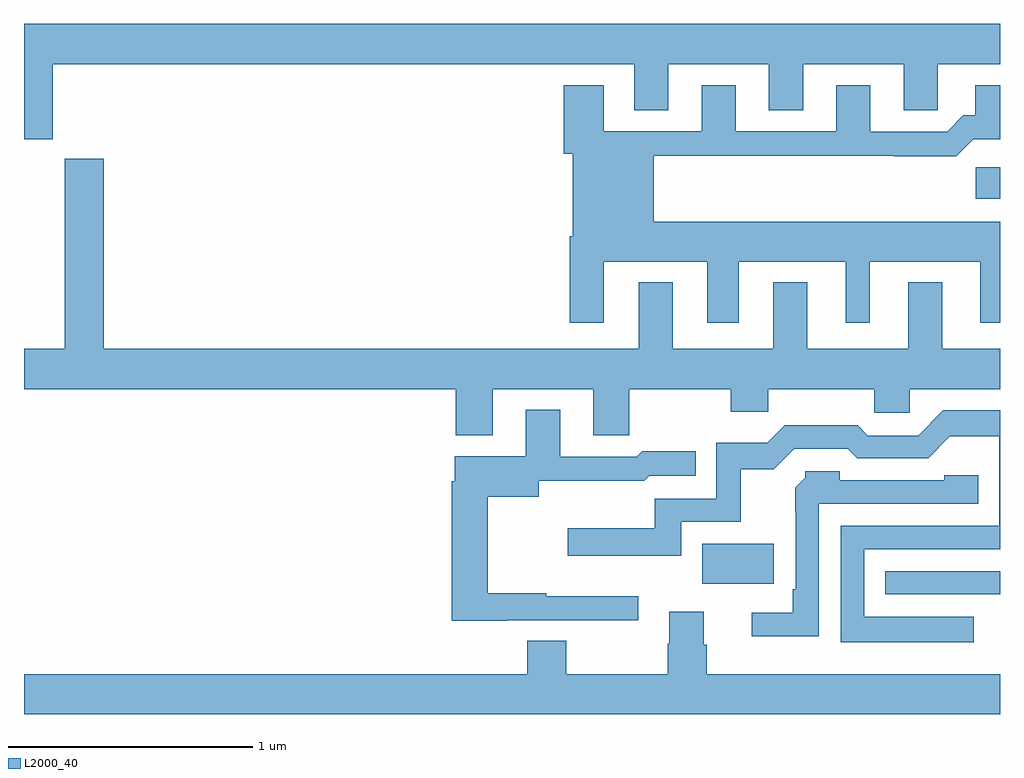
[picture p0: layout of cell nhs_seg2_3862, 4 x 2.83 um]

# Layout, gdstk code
import gdstk
lib = gdstk.Library(unit=1e-6, precision=1e-09)
def R(c, l, rs):  # rectangles x0, y0, x1, y1
    for r in rs: c.add(gdstk.rectangle(r[:2], r[2:], *l))
def P(c, l, *ps):  # polygons
    for p in ps: c.add(gdstk.Polygon(p, *l))
L2000_40 = (2000, 40)

nhs_seg2_3862 = lib.new_cell('nhs_seg2_3862')
R(nhs_seg2_3862, L2000_40, [(318.529,630.81,319,630.906), (317.779,630.854,318.072,631.018), (318.9,632.432,319,632.561)])
P(nhs_seg2_3862, L2000_40, [(315.118,632.984),(317.501,632.984),(317.501,632.794),(317.641,632.794),(317.641,632.984),(318.053,632.984),(318.053,632.794),(318.193,632.794),(318.193,632.984),(318.605,632.984),(318.605,632.794),(318.744,632.794),(318.744,632.984),(319,632.984),(319,633.148),(315,633.148),(315,632.675),(315.118,632.675)],
  [(317.377,632.174),(317.801,632.174),(317.801,631.923),(317.929,631.923),(317.929,632.174),(318.368,632.174),(318.368,631.923),(318.466,631.923),(318.466,632.174),(318.92,632.174),(318.92,631.923),(319,631.923),(319,632.338),(317.581,632.338),(317.581,632.608),(318.565,632.608),(318.565,632.606),(318.821,632.606),(318.89,632.675),(319,632.675),(319,632.896),(318.899,632.896),(318.899,632.773),(318.85,632.773),(318.783,632.706),(318.469,632.706),(318.469,632.896),(318.329,632.896),(318.329,632.709),(317.917,632.709),(317.917,632.896),(317.777,632.896),(317.777,632.709),(317.377,632.709),(317.377,632.896),(317.213,632.896),(317.213,632.616),(317.249,632.616),(317.249,632.278),(317.237,632.278),(317.237,631.923),(317.377,631.923)],
  [(317.481,631.652),(317.896,631.652),(317.896,631.559),(318.05,631.559),(318.05,631.652),(318.485,631.652),(318.485,631.554),(318.63,631.554),(318.63,631.652),(319,631.652),(319,631.816),(318.763,631.816),(318.763,632.089),(318.623,632.089),(318.623,631.816),(318.211,631.816),(318.211,632.089),(318.071,632.089),(318.071,631.816),(317.659,631.816),(317.659,632.089),(317.519,632.089),(317.519,631.816),(315.326,631.816),(315.326,632.596),(315.166,632.596),(315.166,631.816),(315,631.816),(315,631.652),(316.769,631.652),(316.769,631.463),(316.921,631.463),(316.921,631.652),(317.333,631.652),(317.333,631.462),(317.481,631.462)],
  [(316.979,630.705),(317.518,630.705),(317.518,630.802),(317.141,630.802),(317.141,630.814),(316.901,630.814),(316.901,631.211),(317.11,631.211),(317.11,631.277),(317.543,631.277),(317.562,631.296),(317.753,631.296),(317.753,631.397),(317.534,631.397),(317.511,631.374),(317.197,631.374),(317.197,631.567),(317.057,631.567),(317.057,631.377),(316.766,631.377),(316.766,631.274),(316.754,631.274),(316.754,630.703),(316.979,630.703)],
  [(318.892,630.718),(318.444,630.718),(318.444,630.996),(319,630.996),(319,631.564),(318.768,631.564),(318.665,631.461),(318.459,631.461),(318.416,631.504),(318.118,631.504),(318.046,631.432),(317.838,631.432),(317.838,631.203),(317.586,631.203),(317.586,631.081),(317.229,631.081),(317.229,630.968),(317.694,630.968),(317.694,631.107),(317.937,631.107),(317.937,631.323),(318.072,631.323),(318.156,631.407),(318.375,631.407),(318.414,631.368),(318.705,631.368),(318.795,631.458),(318.996,631.458),(318.996,631.092),(318.348,631.092),(318.348,630.614),(318.892,630.614)],
  [(318.258,631.182),(318.911,631.182),(318.911,631.299),(318.771,631.299),(318.771,631.278),(318.344,631.278),(318.344,631.314),(318.201,631.314),(318.201,631.288),(318.16,631.247),(318.16,631.148),(318.162,631.148),(318.162,630.832),(318.15,630.832),(318.15,630.735),(317.982,630.735),(317.982,630.638),(318.258,630.638)],
  [(319,630.484),(317.798,630.484),(317.798,630.603),(317.785,630.603),(317.785,630.739),(317.645,630.739),(317.645,630.608),(317.638,630.608),(317.638,630.484),(317.223,630.484),(317.223,630.62),(317.063,630.62),(317.063,630.484),(315,630.484),(315,630.32),(319,630.32)])

lib.write_gds('nhs_seg2_3862.gds')
